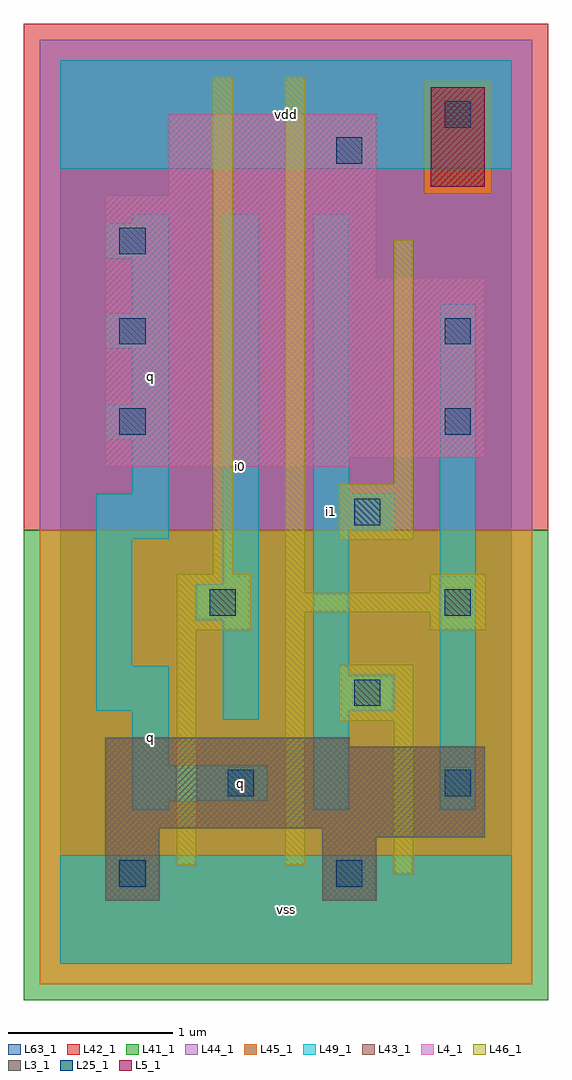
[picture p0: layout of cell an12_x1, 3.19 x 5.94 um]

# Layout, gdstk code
import gdstk
lib = gdstk.Library(unit=1e-6, precision=1e-09)
def R(c, l, rs):  # rectangles x0, y0, x1, y1
    for r in rs: c.add(gdstk.rectangle(r[:2], r[2:], *l))
def A(c, l, x, y, w, h, nx, ny, dx, dy):  # array of equal rectangles
    R(c, l, [(x+i*dx, y+j*dy, x+i*dx+w, y+j*dy+h) for i in range(nx) for j in range(ny)])
L3_1 = (3, 1)
L4_1 = (4, 1)
L5_1 = (5, 1)
L25_1 = (25, 1)
L41_1 = (41, 1)
L42_1 = (42, 1)
L43_1 = (43, 1)
L44_1 = (44, 1)
L45_1 = (45, 1)
L46_1 = (46, 1)
L49_1 = (49, 1)
L63_1 = (63, 1)

an12_x1 = lib.new_cell('an12_x1')
R(an12_x1, L3_1, [(0.275,0.385,0.605,0.825), (1.595,0.385,1.925,0.77), (1.595,0.77,2.585,0.825), (0.275,0.825,2.585,1.32), (0.275,1.32,1.76,1.375)])
R(an12_x1, L4_1, [(0.275,3.025,1.76,3.08), (0.275,3.08,2.585,4.18), (0.275,4.18,1.925,4.675), (0.66,4.675,1.925,5.17)])
R(an12_x1, L5_1, [(2.255,4.73,2.585,5.335)])
A(an12_x1, L25_1, 2.34, 1.02, 0.16, 0.16, 1, 3, 0, 1.1)
A(an12_x1, L25_1, 0.36, 3.22, 0.16, 0.16, 1, 3, 0, 0.55)
R(an12_x1, L25_1, [(0.36,0.47,0.52,0.63), (1.68,0.47,1.84,0.63), (1.02,1.02,1.18,1.18), (1.79,1.57,1.95,1.73), (0.91,2.12,1.07,2.28), (1.79,2.67,1.95,2.83), (2.34,3.77,2.5,3.93), (1.68,4.87,1.84,5.03), (2.34,5.09,2.5,5.25)])
R(an12_x1, L41_1, [(-0.22,-0.22,2.97,2.64)])
R(an12_x1, L42_1, [(-0.22,2.64,2.97,5.72)])
R(an12_x1, L43_1, [(0.275,0.385,0.605,0.825), (1.595,0.385,1.925,0.77), (1.595,0.77,2.585,0.825), (0.275,0.825,2.585,1.32), (0.275,1.32,1.76,1.375), (0.275,3.025,1.76,3.08), (0.275,3.08,2.585,4.18), (0.275,4.18,1.925,4.675), (0.66,4.675,1.925,5.17), (2.255,4.73,2.585,5.335)])
R(an12_x1, L44_1, [(-0.125,2.64,2.875,4.69), (-0.125,4.69,2.215,5.375), (2.625,4.69,2.875,5.375), (-0.125,5.375,2.875,5.625)])
R(an12_x1, L45_1, [(-0.125,-0.125,2.875,2.64), (2.215,4.69,2.625,5.375)])
R(an12_x1, L46_1, [(2.03,0.545,2.15,1.48), (0.71,0.6,0.83,2.03), (1.37,0.6,1.49,2.14), (1.7,1.48,2.15,1.82), (0.71,2.03,1.16,2.37), (2.25,2.03,2.59,2.14), (1.37,2.14,2.59,2.26), (1.37,2.26,1.49,5.395), (2.25,2.26,2.59,2.37), (0.93,2.37,1.05,5.395), (1.7,2.58,2.15,2.92), (2.03,2.92,2.15,4.405)])
A(an12_x1, L49_1, 0.44, 2.86, 0.22, 0.33, 1, 3, 0, 0.55)
A(an12_x1, L49_1, 0.275, 3.19, 0.385, 0.22, 1, 3, 0, 0.55)
R(an12_x1, L49_1, [(0,0,2.75,0.66), (0.44,0.935,0.66,0.99), (1.54,0.935,1.76,1.54), (2.31,0.935,2.53,4.015), (0.44,0.99,1.265,1.21), (0.44,1.21,0.66,1.54), (0.99,1.485,1.21,2.09), (0.22,1.54,0.66,1.815), (1.54,1.54,2.035,1.76), (1.54,1.76,1.76,2.64), (0.22,1.815,0.44,2.585), (0.825,2.09,1.21,2.31), (0.99,2.31,1.21,4.565), (0.22,2.585,0.66,2.86), (1.54,2.64,2.035,2.86), (1.54,2.86,1.76,4.565), (0.44,4.51,0.66,4.565), (0,4.84,2.75,5.5)])
R(an12_x1, L63_1, [(0,0,2.75,5.5)])
an12_x1.add(gdstk.Label('q', (1.1,1.1), layer=49, texttype=1))
an12_x1.add(gdstk.Label('q', (0.55,1.375), layer=49, texttype=1))
an12_x1.add(gdstk.Label('q', (0.55,3.575), layer=49, texttype=1))
an12_x1.add(gdstk.Label('i0', (1.1,3.025), layer=49, texttype=1))
an12_x1.add(gdstk.Label('vss', (1.375,0.33), layer=49, texttype=1))
an12_x1.add(gdstk.Label('i1', (1.65,2.75), layer=49, texttype=1))
an12_x1.add(gdstk.Label('vdd', (1.375,5.17), layer=49, texttype=1))

lib.write_gds('an12_x1.gds')
